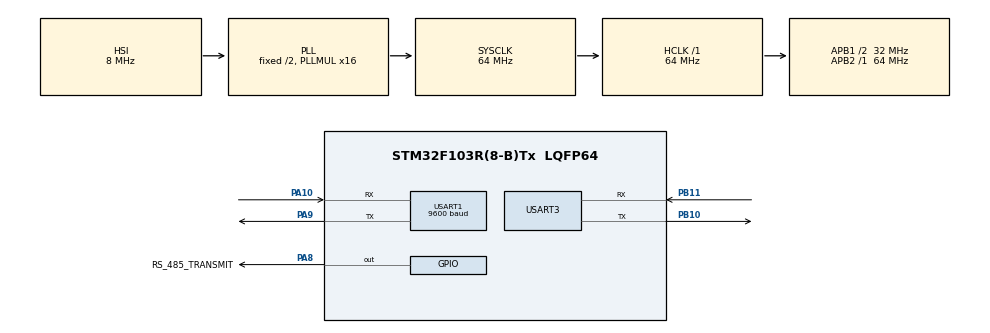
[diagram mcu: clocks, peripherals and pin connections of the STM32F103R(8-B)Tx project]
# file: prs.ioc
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Mcu.Family=STM32F1
Mcu.Name=STM32F103R(8-B)Tx
Mcu.Package=LQFP64
NVIC.PriorityGroup=NVIC_PRIORITYGROUP_4
NVIC.TIM1_UP_IRQn=true\:0\:0\:false\:false\:true\:true
NVIC.USART1_IRQn=true\:0\:0\:false\:false\:true\:true
NVIC.USART3_IRQn=true\:0\:0\:false\:false\:true\:true
PA10.Mode=Asynchronous
PA10.Signal=USART1_RX
PA13.Mode=Serial_Wire
PA13.Signal=SYS_JTMS-SWDIO
PA14.Mode=Serial_Wire
PA14.Signal=SYS_JTCK-SWCLK
PA8.GPIO_Label=RS_485_TRANSMIT
PA8.Signal=GPIO_Output
PA9.Mode=Asynchronous
PA9.Signal=USART1_TX
PB10.Mode=Asynchronous
PB10.Signal=USART3_TX
PB11.Mode=Asynchronous
PB11.Signal=USART3_RX
PC14-OSC32_IN.Mode=LSE-External-Oscillator
PC14-OSC32_IN.Signal=RCC_OSC32_IN
PC15-OSC32_OUT.Mode=LSE-External-Oscillator
PC15-OSC32_OUT.Signal=RCC_OSC32_OUT
PD0-OSC_IN.Mode=HSE-External-Oscillator
PD0-OSC_IN.Signal=RCC_OSC_IN
PD1-OSC_OUT.Mode=HSE-External-Oscillator
PD1-OSC_OUT.Signal=RCC_OSC_OUT
ProjectManager.HeapSize=0x200
ProjectManager.StackSize=0x400
ProjectManager.TargetToolchain=MDK-ARM V5
RCC.AHBFreq_Value=64000000
RCC.APB1CLKDivider=RCC_HCLK_DIV2
RCC.APB1Freq_Value=32000000
RCC.APB1TimFreq_Value=64000000
RCC.APB2Freq_Value=64000000
RCC.APB2TimFreq_Value=64000000
RCC.HCLKFreq_Value=64000000
RCC.PLLMUL=RCC_PLL_MUL16
RCC.SYSCLKFreq_VALUE=64000000
RCC.SYSCLKSource=RCC_SYSCLKSOURCE_PLLCLK
RCC.USBFreq_Value=64000000
TIM1.Period=10000
TIM1.Prescaler=7200
TIM1.TIM_MasterOutputTrigger=TIM_TRGO_UPDATE
USART1.BaudRate=9600
USART1.StopBits=STOPBITS_2
USART1.VirtualMode=VM_ASYNC
USART3.VirtualMode=VM_ASYNC
VP_TIM1_VS_ClockSourceINT.Mode=Internal
board=custom

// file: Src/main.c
/**
  ******************************************************************************
  * @file           : main.c
  * @brief          : Main program body
  ******************************************************************************
  ** This notice applies to any and all portions of this file
  * that are not between comment pairs USER CODE BEGIN and
  * USER CODE END. Other portions of this file, whether
  * inserted by the user or by software development tools
  * are owned by their respective copyright owners.
  *
  * COPYRIGHT(c) 2018 STMicroelectronics
  *
  * Redistribution and use in source and binary forms, with or without modification,
  * are permitted provided that the following conditions are met:
  *   1. Redistributions of source code must retain the above copyright notice,
  *      this list of conditions and the following disclaimer.
  *   2. Redistributions in binary form must reproduce the above copyright notice,
  *      this list of conditions and the following disclaimer in the documentation
  *      and/or other materials provided with the distribution.
  *   3. Neither the name of STMicroelectronics nor the names of its contributors
  *      may be used to endorse or promote products derived from this software
  *      without specific prior written permission.
  *
  * THIS SOFTWARE IS PROVIDED BY THE COPYRIGHT HOLDERS AND CONTRIBUTORS "AS IS"
  * AND ANY EXPRESS OR IMPLIED WARRANTIES, INCLUDING, BUT NOT LIMITED TO, THE
  * IMPLIED WARRANTIES OF MERCHANTABILITY AND FITNESS FOR A PARTICULAR PURPOSE ARE
  * DISCLAIMED. IN NO EVENT SHALL THE COPYRIGHT HOLDER OR CONTRIBUTORS BE LIABLE
  * FOR ANY DIRECT, INDIRECT, INCIDENTAL, SPECIAL, EXEMPLARY, OR CONSEQUENTIAL
  * DAMAGES (INCLUDING, BUT NOT LIMITED TO, PROCUREMENT OF SUBSTITUTE GOODS OR
  * SERVICES; LOSS OF USE, DATA, OR PROFITS; OR BUSINESS INTERRUPTION) HOWEVER
  * CAUSED AND ON ANY THEORY OF LIABILITY, WHETHER IN CONTRACT, STRICT LIABILITY,
  * OR TORT (INCLUDING NEGLIGENCE OR OTHERWISE) ARISING IN ANY WAY OUT OF THE USE
  * OF THIS SOFTWARE, EVEN IF ADVISED OF THE POSSIBILITY OF SUCH DAMAGE.
  *
  ******************************************************************************
  */
#include "main.h"
#include "stm32f1xx_hal.h"

/* USER CODE BEGIN Includes */
#include <string.h>

#include "sensors.h"

/* USER CODE END Includes */

TIM_HandleTypeDef htim1;

UART_HandleTypeDef huart1;
UART_HandleTypeDef huart3;

/* USER CODE BEGIN PV */
/* Private variables ---------------------------------------------------------*/
double temperature1, temperature2, presuare1, presuare2;
uint32_t UpPres1, UpPres2;
char message_to_esp[100];
uint8_t Klapan[2];
uint32_t press_limit;
uint8_t stage_of_process;
uint8_t step_of_blow;
static const MODBUS_Std_command getTempPrsCommandensor1 =
{
	.address = 0xF0,
	.func_code = 0x04,
	.start_index = 0x0000,
	.length = 0x0200,
	.CRC_low = 0x64,
	.CRC_high = 0xEA,
};

static const MODBUS_Std_command getTempPrsCommandSensor2 =
{
	.address = 0xDE,
	.func_code = 0x04,
	.start_index = 0x0000,
	.length = 0x0200,
	.CRC_low = 0x62,
	.CRC_high = 0xA4,
};

sensorData firstSensorTempPrs;
sensorData secondSensorTempPrs;
command_message command_from_host, command_from_host_now;
uint8_t state;
uint32_t Time_pump, Time_speak;
#ifdef _1_SLAVE_PRESENT
static const uint8_t MODBUS_slaveAddrChange[11] =
{
	0xF0, 0x10, 0x00, 0x14,
	0x00, 0x01, 0x02, 0x00,
	0xDE, 0x2C, 0x88
};
#endif

/* USER CODE END PV */

void SystemClock_Config(void);
static void MX_GPIO_Init(void);
static void MX_USART1_UART_Init(void);
static void MX_TIM1_Init(void);
static void MX_USART3_UART_Init(void);

/* USER CODE BEGIN PFP */
/* Private function prototypes -----------------------------------------------*/
void err_handler(void);
void zero_params(sensorData Params)
	{
	Params.address=0;
	Params.func_code=0;
	Params.byte_count=0;
	Params.raw_pressure_high=0;
	Params.raw_pressure_low=0;
	Params.raw_temperature_high=0;
	Params.raw_temperature_low=0;
	Params.CRC_low=0;
	Params.CRC_high=0;
	}
void Init_klapans(void)
{
	GPIO_InitTypeDef GPIO_InitStruct;
  /*Configure GPIO pin Output Level */
  HAL_GPIO_WritePin(GPIOA, 	ALL_A_Klapans,GPIO_PIN_RESET);
	GPIO_InitStruct.Pin = ALL_A_Klapans;
  GPIO_InitStruct.Mode = GPIO_MODE_OUTPUT_PP;
  GPIO_InitStruct.Speed = GPIO_SPEED_FREQ_LOW;
  HAL_GPIO_Init(GPIOA, &GPIO_InitStruct);

	HAL_GPIO_WritePin(GPIOB, 	ALL_B_Klapans,GPIO_PIN_RESET);
	GPIO_InitStruct.Pin = ALL_B_Klapans;
  GPIO_InitStruct.Mode = GPIO_MODE_OUTPUT_PP;
  GPIO_InitStruct.Speed = GPIO_SPEED_FREQ_LOW;
  HAL_GPIO_Init(GPIOB, &GPIO_InitStruct);

	HAL_GPIO_WritePin(GPIOC, 	ALL_C_Klapans,GPIO_PIN_RESET);
	GPIO_InitStruct.Pin = ALL_C_Klapans;
  GPIO_InitStruct.Mode = GPIO_MODE_OUTPUT_PP;
  GPIO_InitStruct.Speed = GPIO_SPEED_FREQ_LOW;
  HAL_GPIO_Init(GPIOC, &GPIO_InitStruct);

	HAL_GPIO_WritePin(GPIOD, 	ALL_D_Klapans,GPIO_PIN_RESET);
	GPIO_InitStruct.Pin = ALL_D_Klapans;
  GPIO_InitStruct.Mode = GPIO_MODE_OUTPUT_PP;
  GPIO_InitStruct.Speed = GPIO_SPEED_FREQ_LOW;
  HAL_GPIO_Init(GPIOD, &GPIO_InitStruct);

}

void test_pins(void)
{
	HAL_GPIO_WritePin(GPIOA, 	ALL_A_Klapans,GPIO_PIN_SET);
	HAL_GPIO_WritePin(GPIOB, 	ALL_B_Klapans,GPIO_PIN_SET);
	HAL_GPIO_WritePin(GPIOC, 	ALL_C_Klapans,GPIO_PIN_SET);
	HAL_GPIO_WritePin(GPIOD, 	ALL_D_Klapans,GPIO_PIN_SET);
	//HAL_GPIO_WritePin(GPIOB, 	dev_13,GPIO_PIN_SET);

}
/* USER CODE END PFP */

/* USER CODE BEGIN 0 */
uint16_t temp2, temp1;
uint16_t pres1, pres2;
uint8_t ch;
/* USER CODE END 0 */

int main(void)
{
//  /* USER CODE BEGIN 1 */

//  /* USER CODE END 1 */

//  /* MCU Configuration----------------------------------------------------------*/

//  /* Reset of all peripherals, Initializes the Flash interface and the Systick. */
  HAL_Init();

//  /* USER CODE BEGIN Init */

//  /* USER CODE END Init */

//  /* Configure the system clock */
  SystemClock_Config();
//  /* USER CODE BEGIN SysInit */
//
//  /* USER CODE END SysInit */

//  /* Initialize all configured peripherals */
  MX_GPIO_Init();
  MX_USART1_UART_Init();
  MX_TIM1_Init();
  MX_USART3_UART_Init();
//  /* USER CODE BEGIN 2 */
	Init_klapans();
	zero_down_system();
	HAL_TIM_Base_Start_IT(&htim1);

#ifdef _1_SLAVE_PRESENT

	HAL_GPIO_WritePin(RS_485_TRANSMIT_GPIO_Port, RS_485_TRANSMIT_Pin, GPIO_PIN_SET);
	if(HAL_UART_Transmit(&huart1, (uint8_t*)(&MODBUS_slaveAddrChange), sizeof(MODBUS_slaveAddrChange), 30) != HAL_OK) err_handler();
	HAL_GPIO_WritePin(RS_485_TRANSMIT_GPIO_Port, RS_485_TRANSMIT_Pin, GPIO_PIN_RESET);
	HAL_Delay(500);

#endif
HAL_UART_Receive_IT(&huart3, (uint8_t*)(&ch), 1);
//HAL_UART_Transmit(&huart3,"HELLO", 5,1);
  /* USER CODE END 2 */

  /* Infinite loop */
  /* USER CODE BEGIN WHILE */
	/*HAL_GPIO_WritePin(RS_485_TRANSMIT_GPIO_Port, RS_485_TRANSMIT_Pin, GPIO_PIN_SET);
	HAL_UART_Transmit(&huart1, (uint8_t*)&ch_addr, sizeof(ch_addr), 100);
	HAL_GPIO_WritePin(RS_485_TRANSMIT_GPIO_Port, RS_485_TRANSMIT_Pin, GPIO_PIN_RESET);
	HAL_Delay(100);*/
  while (1)
  {

		/* CRC check porc here! */

  /* USER CODE END WHILE */
	Timing_main();

  }

}

void SystemClock_Config(void)
{

  RCC_OscInitTypeDef RCC_OscInitStruct;
  RCC_ClkInitTypeDef RCC_ClkInitStruct;

    /**Initializes the CPU, AHB and APB busses clocks
    */
  RCC_OscInitStruct.OscillatorType = RCC_OSCILLATORTYPE_HSI;
  RCC_OscInitStruct.HSIState = RCC_HSI_ON;
  RCC_OscInitStruct.HSICalibrationValue = 16;
  RCC_OscInitStruct.PLL.PLLState = RCC_PLL_ON;
  RCC_OscInitStruct.PLL.PLLSource = RCC_PLLSOURCE_HSI_DIV2;
  RCC_OscInitStruct.PLL.PLLMUL = RCC_PLL_MUL16;
  if (HAL_RCC_OscConfig(&RCC_OscInitStruct) != HAL_OK)
  {
    _Error_Handler(__FILE__, __LINE__);
  }

    /**Initializes the CPU, AHB and APB busses clocks
    */
  RCC_ClkInitStruct.ClockType = RCC_CLOCKTYPE_HCLK|RCC_CLOCKTYPE_SYSCLK
                              |RCC_CLOCKTYPE_PCLK1|RCC_CLOCKTYPE_PCLK2;
  RCC_ClkInitStruct.SYSCLKSource = RCC_SYSCLKSOURCE_PLLCLK;
  RCC_ClkInitStruct.AHBCLKDivider = RCC_SYSCLK_DIV1;
  RCC_ClkInitStruct.APB1CLKDivider = RCC_HCLK_DIV2;
  RCC_ClkInitStruct.APB2CLKDivider = RCC_HCLK_DIV1;

  if (HAL_RCC_ClockConfig(&RCC_ClkInitStruct, FLASH_LATENCY_2) != HAL_OK)
  {
    _Error_Handler(__FILE__, __LINE__);
  }

    /**Configure the Systick interrupt time
    */
  HAL_SYSTICK_Config(HAL_RCC_GetHCLKFreq()/1000);

    /**Configure the Systick
    */
  HAL_SYSTICK_CLKSourceConfig(SYSTICK_CLKSOURCE_HCLK);

  /* SysTick_IRQn interrupt configuration */
  HAL_NVIC_SetPriority(SysTick_IRQn, 0, 0);
}

/* TIM1 init function */
static void MX_TIM1_Init(void)
{

  TIM_ClockConfigTypeDef sClockSourceConfig;
  TIM_MasterConfigTypeDef sMasterConfig;

  htim1.Instance = TIM1;
  htim1.Init.Prescaler = 7200;
  htim1.Init.CounterMode = TIM_COUNTERMODE_UP;
  htim1.Init.Period = 10000;
  htim1.Init.ClockDivision = TIM_CLOCKDIVISION_DIV1;
  htim1.Init.RepetitionCounter = 0;
  htim1.Init.AutoReloadPreload = TIM_AUTORELOAD_PRELOAD_DISABLE;
  if (HAL_TIM_Base_Init(&htim1) != HAL_OK)
  {
    _Error_Handler(__FILE__, __LINE__);
  }

  sClockSourceConfig.ClockSource = TIM_CLOCKSOURCE_INTERNAL;
  if (HAL_TIM_ConfigClockSource(&htim1, &sClockSourceConfig) != HAL_OK)
  {
    _Error_Handler(__FILE__, __LINE__);
  }

  sMasterConfig.MasterOutputTrigger = TIM_TRGO_UPDATE;
  sMasterConfig.MasterSlaveMode = TIM_MASTERSLAVEMODE_DISABLE;
  if (HAL_TIMEx_MasterConfigSynchronization(&htim1, &sMasterConfig) != HAL_OK)
  {
    _Error_Handler(__FILE__, __LINE__);
  }

}

/* USART1 init function */
static void MX_USART1_UART_Init(void)
{

  huart1.Instance = USART1;
  huart1.Init.BaudRate = 9600;
  huart1.Init.WordLength = UART_WORDLENGTH_8B;
  huart1.Init.StopBits = UART_STOPBITS_2;
  huart1.Init.Parity = UART_PARITY_NONE;
  huart1.Init.Mode = UART_MODE_TX_RX;
  huart1.Init.HwFlowCtl = UART_HWCONTROL_NONE;
  huart1.Init.OverSampling = UART_OVERSAMPLING_16;
  if (HAL_UART_Init(&huart1) != HAL_OK)
  {
    _Error_Handler(__FILE__, __LINE__);
  }

}

/* USART3 init function */
static void MX_USART3_UART_Init(void)
{

  huart3.Instance = USART3;
  huart3.Init.BaudRate = 115200;
  huart3.Init.WordLength = UART_WORDLENGTH_8B;
  huart3.Init.StopBits = UART_STOPBITS_1;
  huart3.Init.Parity = UART_PARITY_NONE;
  huart3.Init.Mode = UART_MODE_TX_RX;
  huart3.Init.HwFlowCtl = UART_HWCONTROL_NONE;
  huart3.Init.OverSampling = UART_OVERSAMPLING_16;
  if (HAL_UART_Init(&huart3) != HAL_OK)
  {
    _Error_Handler(__FILE__, __LINE__);
  }

}

/** Configure pins as
        * Analog
        * Input
        * Output
        * EVENT_OUT
        * EXTI
*/
static void MX_GPIO_Init(void)
{

  GPIO_InitTypeDef GPIO_InitStruct;

  /* GPIO Ports Clock Enable */
  __HAL_RCC_GPIOC_CLK_ENABLE();
  __HAL_RCC_GPIOD_CLK_ENABLE();
  __HAL_RCC_GPIOB_CLK_ENABLE();
  __HAL_RCC_GPIOA_CLK_ENABLE();

  /*Configure GPIO pin Output Level */
  HAL_GPIO_WritePin(RS_485_TRANSMIT_GPIO_Port, RS_485_TRANSMIT_Pin, GPIO_PIN_RESET);

  /*Configure GPIO pin : RS_485_TRANSMIT_Pin */
  GPIO_InitStruct.Pin = RS_485_TRANSMIT_Pin;
  GPIO_InitStruct.Mode = GPIO_MODE_OUTPUT_PP;
  GPIO_InitStruct.Pull = GPIO_NOPULL;
  GPIO_InitStruct.Speed = GPIO_SPEED_FREQ_LOW;
  HAL_GPIO_Init(RS_485_TRANSMIT_GPIO_Port, &GPIO_InitStruct);

}

/* USER CODE BEGIN 4 */

void MATH_Go_to_ESP()
{
if(firstSensorTempPrs.address!=0)
		{

		}
if(secondSensorTempPrs.address!=0)
		{

		}
		temperature1 = (double)temp1*70/10000;
			UpPres1 =(uint32_t)pres1*2*10;
temperature2 = (double)temp2*70/10000;
			UpPres2 =(uint32_t)pres2*3*10;

presuare1 = (double)pres1*2/10000;
presuare2 = (double)pres2*3/10000;

//sprintf(pres_ch,"%i%c%c",pres1_4, 'P','a');
//snprintf(pres_ch,5,"%d",pres1);

		sprintf(message_to_esp, "$p1 = %d Pa, p2 = %d Pa, t = %f C*", UpPres1, UpPres2, temperature2);
    HAL_UART_Transmit(&huart3,(uint8_t*)(&message_to_esp),strlen(message_to_esp)+1,1000);

}

void err_handler()
{

}
uint8_t hui=0;
void take_klapan() //write klapans state by number
{

if(Klapan[0])
	{
//	HAL_UART_Transmit(&huart3, Klapan, 2,1);
switch(Klapan[0])
	{
	case 0x04:
		if(Klapan[1]==0x01)
		{

			HAL_GPIO_WritePin(dev_4_gp,dev_4,GPIO_PIN_SET);
			HAL_GPIO_WritePin(dev_4_1_gp,dev_4_1,GPIO_PIN_RESET);
		}
		if(Klapan[1]==0x00)
		{
			HAL_GPIO_WritePin(dev_4_gp,dev_4,GPIO_PIN_RESET);
			HAL_GPIO_WritePin(dev_4_1_gp,dev_4_1,GPIO_PIN_SET);
		}
		break;
	case 0x05:
		if(Klapan[1]==0x01)
		{
			HAL_GPIO_WritePin(dev_5_gp,dev_5,GPIO_PIN_SET);
			HAL_GPIO_WritePin(dev_5_1_gp,dev_5_1,GPIO_PIN_RESET);
		}
		if(Klapan[1]==0x00)
		{
			HAL_GPIO_WritePin(dev_5_gp,dev_5,GPIO_PIN_RESET);
			HAL_GPIO_WritePin(dev_5_1_gp,dev_5_1,GPIO_PIN_SET);
		}
		break;
	case 0x06:
		if(Klapan[1]==0x01)
		{
			HAL_GPIO_WritePin(dev_6_gp,dev_6,GPIO_PIN_SET);
			HAL_GPIO_WritePin(dev_6_1_gp,dev_6_1,GPIO_PIN_RESET);
		}
		if(Klapan[1]==0x00)
		{

			HAL_GPIO_WritePin(dev_6_gp,dev_6,GPIO_PIN_RESET);
			HAL_GPIO_WritePin(dev_6_1_gp,dev_6_1,GPIO_PIN_SET);
		}
		break;
	case 0x09:
		if(Klapan[1]==0x01)
		{
			HAL_GPIO_WritePin(dev_9_gp,dev_9,GPIO_PIN_SET);
		}
		if(Klapan[1]==0x00)
		{
			HAL_GPIO_WritePin(dev_9_gp,dev_9,GPIO_PIN_RESET);
		}
		break;
	case 0x01:
		if(Klapan[1]==0x01)
		{
			HAL_GPIO_WritePin(dev_10_gp,dev_10,GPIO_PIN_SET);
			HAL_GPIO_WritePin(dev_10_1_gp,dev_10_1,GPIO_PIN_RESET);
		}
		if(Klapan[1]==0x00)
		{

			HAL_GPIO_WritePin(dev_10_gp,dev_10,GPIO_PIN_RESET);
			HAL_GPIO_WritePin(dev_10_1_gp,dev_10_1,GPIO_PIN_SET);
		}
		break;
	case 0x02:
		if(Klapan[1]==0x01)
		{
			HAL_GPIO_WritePin(dev_11_gp,dev_11,GPIO_PIN_SET);
		}
		if(Klapan[1]==0x00)
		{
			HAL_GPIO_WritePin(dev_11_gp,dev_11,GPIO_PIN_RESET);
		}
		break;
	case 0x03:
		if(Klapan[1]==0x01)
		{
			HAL_GPIO_WritePin(dev_13_gp,dev_13,GPIO_PIN_SET);
		}
		if(Klapan[1]==0x00)
		{
			HAL_GPIO_WritePin(dev_13_gp,dev_13,GPIO_PIN_RESET);
		}
		break;

	}

	}
}
void zero_down_system() // go system to zerostate external
{
		HAL_GPIO_WritePin(dev_4_gp,dev_4,GPIO_PIN_SET); //open/close klapans on start
		HAL_GPIO_WritePin(dev_5_gp,dev_5,GPIO_PIN_SET);
		HAL_GPIO_WritePin(dev_6_gp,dev_6,GPIO_PIN_SET);
		HAL_GPIO_WritePin(dev_10_gp,dev_10,GPIO_PIN_RESET); // open 10,11,13 klapans

		HAL_GPIO_WritePin(dev_4_1_gp,dev_4_1,GPIO_PIN_RESET); //open/close klapans on start
		HAL_GPIO_WritePin(dev_5_1_gp,dev_5_1,GPIO_PIN_RESET);
		HAL_GPIO_WritePin(dev_6_1_gp,dev_6_1,GPIO_PIN_RESET);
		HAL_GPIO_WritePin(dev_10_1_gp,dev_10_1,GPIO_PIN_SET); // open 10,11,13 klapans

		HAL_GPIO_WritePin(dev_11_gp,dev_11,GPIO_PIN_RESET);
		HAL_GPIO_WritePin(dev_13_gp,dev_13,GPIO_PIN_RESET);
		HAL_GPIO_WritePin(dev_9_gp,dev_9,GPIO_PIN_RESET);
		HAL_UART_Transmit(&huart3,"SYSTEM STOP",11,1);
		step_of_blow=0;
		stage_of_process=0;
		//zero_params(firstSensorTempPrs);
		//zero_params(secondSensorTempPrs);
}

void zeroing() //zerostate when all done good
{
				HAL_GPIO_WritePin(dev_4_gp,dev_4,GPIO_PIN_SET); //open/close klapans on start
				HAL_GPIO_WritePin(dev_5_gp,dev_5,GPIO_PIN_SET);
				HAL_GPIO_WritePin(dev_6_gp,dev_6,GPIO_PIN_SET);
				HAL_GPIO_WritePin(dev_10_gp,dev_10,GPIO_PIN_SET); // open 10,11,13 klapans

				HAL_GPIO_WritePin(dev_4_1_gp,dev_4_1,GPIO_PIN_RESET); //open/close klapans on start
				HAL_GPIO_WritePin(dev_5_1_gp,dev_5_1,GPIO_PIN_RESET);
				HAL_GPIO_WritePin(dev_6_1_gp,dev_6_1,GPIO_PIN_RESET);
				HAL_GPIO_WritePin(dev_10_1_gp,dev_10_1,GPIO_PIN_RESET);

				HAL_GPIO_WritePin(dev_11_gp,dev_11,GPIO_PIN_SET);
				HAL_GPIO_WritePin(dev_13_gp,dev_13,GPIO_PIN_SET);
				HAL_GPIO_WritePin(dev_9_gp,dev_9,GPIO_PIN_RESET);

				step_of_blow=0;
				stage_of_process=0;
			//	zero_params(firstSensorTempPrs);
			//	zero_params(secondSensorTempPrs);
}

void all_zeroes()
{
				HAL_GPIO_WritePin(dev_4_gp,dev_4,GPIO_PIN_RESET); //open/close klapans on start
				HAL_GPIO_WritePin(dev_5_gp,dev_5,GPIO_PIN_RESET);
				HAL_GPIO_WritePin(dev_6_gp,dev_6,GPIO_PIN_RESET);
				HAL_GPIO_WritePin(dev_10_gp,dev_10,GPIO_PIN_RESET); // open 10,11,13 klapans

				HAL_GPIO_WritePin(dev_4_1_gp,dev_4_1,GPIO_PIN_SET); //open/close klapans on start
				HAL_GPIO_WritePin(dev_5_1_gp,dev_5_1,GPIO_PIN_SET);
				HAL_GPIO_WritePin(dev_6_1_gp,dev_6_1,GPIO_PIN_SET);
				HAL_GPIO_WritePin(dev_10_1_gp,dev_10_1,GPIO_PIN_SET);

				HAL_GPIO_WritePin(dev_11_gp,dev_11,GPIO_PIN_RESET);
				HAL_GPIO_WritePin(dev_13_gp,dev_13,GPIO_PIN_RESET);
				HAL_GPIO_WritePin(dev_9_gp,dev_9,GPIO_PIN_RESET);

				step_of_blow=0;
				stage_of_process=0;
				zero_params(firstSensorTempPrs);
				zero_params(secondSensorTempPrs);

}

void Parser() // this is command parser
{
	uint8_t start;

			if(command_from_host_now.start==':')
			{
				if((command_from_host_now.powering==0x01)&&(stage_of_process==0)) // if process didn't start when we can write command to system
				{
					stage_of_process = 1;
					command_from_host=command_from_host_now;
					press_limit= command_from_host.pressure_4<<24|command_from_host.pressure_3<<16|command_from_host.pressure_2<<8|command_from_host.pressure_1;
				}
				if(command_from_host_now.powering==0x00) // if need to turn down
					{
					zero_down_system();
					stage_of_process=0;
					}
				if(command_from_host_now.powering==0x02)  // if process didn't start when we can write command to system
					{
						HAL_UART_Transmit(&huart3, (uint8_t*)(&stage_of_process),1,1);
						stage_of_process++;
					}
					if(command_from_host_now.powering==0x03) //turn off all
					{
					all_zeroes();
					}
			}
			else
			{
				Klapan[0]=command_from_host_now.start;
				Klapan[1]=command_from_host_now.klapan_start;
				take_klapan();

			}
			//HAL_UART_Transmit(&huart3, (uint8_t*)(&command_from_host_now),sizeof(command_from_host_now),1);
		}

void extrme_stop()
{
	if(UpPres2>(three_atm-200))
		{
			zero_down_system();
			HAL_UART_Transmit(&huart3,"EXTREME STOP, System Delay 2 min",24,1);
			HAL_Delay(2000);

		}

}

void blowing()
{
		if(((UpPres1<(two_atm+200))&&(UpPres1>(two_atm-200)))&&((UpPres2<(two_atm+200))&&(UpPres2>(two_atm-200))))
		{
		HAL_GPIO_WritePin(dev_10_gp,dev_10,GPIO_PIN_RESET); // open 10,11,13 klapans
		HAL_GPIO_WritePin(dev_10_1_gp,dev_10_1,GPIO_PIN_SET); // open 10,11,13 klapans
		HAL_GPIO_WritePin(dev_11_gp,dev_11,GPIO_PIN_RESET);
		HAL_GPIO_WritePin(dev_13_gp,dev_13,GPIO_PIN_RESET);
		HAL_GPIO_WritePin(dev_9_gp,dev_9,GPIO_PIN_SET);
		step_of_blow++;
		if(step_of_blow==5)
			{
				HAL_GPIO_WritePin(GPIOB,dev_13,GPIO_PIN_RESET);
				stage_of_process++;
			}
		}
		if((UpPres1<(one_atm+200))&&(UpPres2<(one_atm+200))) //go one_atm
		{
		HAL_GPIO_WritePin(dev_10_gp,dev_10,GPIO_PIN_SET); // open 10,11,13 klapans
		HAL_GPIO_WritePin(dev_10_1_gp,dev_10_1,GPIO_PIN_RESET);
		HAL_GPIO_WritePin(dev_11_gp,dev_11,GPIO_PIN_SET);
		HAL_GPIO_WritePin(dev_13_gp,dev_13,GPIO_PIN_SET);
		HAL_GPIO_WritePin(dev_9_gp,dev_9,GPIO_PIN_RESET);
		}

}
void process_pump()
{
	extrme_stop();
	if(stage_of_process==1) //stage of  blowing
	{
		switch(command_from_host.klapan_start)
		{
			case 0x01:
				HAL_GPIO_WritePin(dev_4_gp,dev_4,GPIO_PIN_RESET); //open/close klapans on start
				HAL_GPIO_WritePin(dev_5_gp,dev_5,GPIO_PIN_SET);
				HAL_GPIO_WritePin(dev_6_gp,dev_6,GPIO_PIN_SET);

				HAL_GPIO_WritePin(dev_4_1_gp,dev_4_1,GPIO_PIN_SET); //open/close klapans on start
				HAL_GPIO_WritePin(dev_5_1_gp,dev_5_1,GPIO_PIN_RESET);
				HAL_GPIO_WritePin(dev_6_1_gp,dev_6_1,GPIO_PIN_RESET);

			case 0x02:
				HAL_GPIO_WritePin(dev_4_gp,dev_4,GPIO_PIN_SET); //open/close klapans on start
				HAL_GPIO_WritePin(dev_5_gp,dev_5,GPIO_PIN_RESET);
				HAL_GPIO_WritePin(dev_6_gp,dev_6,GPIO_PIN_SET);

				HAL_GPIO_WritePin(dev_4_1_gp,dev_4_1,GPIO_PIN_RESET); //open/close klapans on start
				HAL_GPIO_WritePin(dev_5_1_gp,dev_5_1,GPIO_PIN_SET);
				HAL_GPIO_WritePin(dev_6_1_gp,dev_6_1,GPIO_PIN_RESET);

			case 0x03:
				HAL_GPIO_WritePin(dev_4_gp,dev_4,GPIO_PIN_SET); //open/close klapans on start
				HAL_GPIO_WritePin(dev_5_gp,dev_5,GPIO_PIN_SET);
				HAL_GPIO_WritePin(dev_6_gp,dev_6,GPIO_PIN_RESET);

				HAL_GPIO_WritePin(dev_4_1_gp,dev_4_1,GPIO_PIN_RESET); //open/close klapans on start
				HAL_GPIO_WritePin(dev_5_1_gp,dev_5_1,GPIO_PIN_RESET);
				HAL_GPIO_WritePin(dev_6_1_gp,dev_6_1,GPIO_PIN_SET);
			default:
				HAL_GPIO_WritePin(dev_4_gp,dev_4,GPIO_PIN_SET); //open/close klapans on start
				HAL_GPIO_WritePin(dev_5_gp,dev_5,GPIO_PIN_SET);
				HAL_GPIO_WritePin(dev_6_gp,dev_6,GPIO_PIN_SET);

				HAL_GPIO_WritePin(dev_4_1_gp,dev_4_1,GPIO_PIN_RESET); //open/close klapans on start
				HAL_GPIO_WritePin(dev_5_1_gp,dev_5_1,GPIO_PIN_RESET);
				HAL_GPIO_WritePin(dev_6_1_gp,dev_6_1,GPIO_PIN_RESET);
		}
	blowing();

	}
	if(stage_of_process==2) // go to 0.1 atm
	{
		if(((UpPres1<10333)&&(UpPres1>9933))&&((UpPres2<10433)&&(UpPres2>9833))) //down pressure to 0,1 atm 200pa
			{
				HAL_GPIO_WritePin(dev_9_gp,dev_9,GPIO_PIN_RESET);
				HAL_GPIO_WritePin(dev_10_gp,dev_10,GPIO_PIN_SET);
				HAL_GPIO_WritePin(dev_10_1_gp,dev_10_1,GPIO_PIN_RESET);
				switch(command_from_host.klapan_start)
					{
					case 0x01:
						HAL_GPIO_WritePin(dev_4_gp,dev_4,GPIO_PIN_RESET); //open/close klapans on start
						HAL_GPIO_WritePin(dev_5_gp,dev_5,GPIO_PIN_SET);
						HAL_GPIO_WritePin(dev_6_gp,dev_6,GPIO_PIN_SET);

						HAL_GPIO_WritePin(dev_4_1_gp,dev_4_1,GPIO_PIN_SET); //open/close klapans on start
						HAL_GPIO_WritePin(dev_5_1_gp,dev_5_1,GPIO_PIN_RESET);
						HAL_GPIO_WritePin(dev_6_1_gp,dev_6_1,GPIO_PIN_RESET);
					case 0x02:
						HAL_GPIO_WritePin(dev_4_gp,dev_4,GPIO_PIN_SET); //open/close klapans on start
						HAL_GPIO_WritePin(dev_5_gp,dev_5,GPIO_PIN_RESET);
						HAL_GPIO_WritePin(dev_6_gp,dev_6,GPIO_PIN_SET);

						HAL_GPIO_WritePin(dev_4_1_gp,dev_4_1,GPIO_PIN_RESET); //open/close klapans on start
						HAL_GPIO_WritePin(dev_5_1_gp,dev_5_1,GPIO_PIN_SET);
						HAL_GPIO_WritePin(dev_6_1_gp,dev_6_1,GPIO_PIN_RESET);
					case 0x03:
						HAL_GPIO_WritePin(dev_4_gp,dev_4,GPIO_PIN_SET); //open/close klapans on start
						HAL_GPIO_WritePin(dev_5_gp,dev_5,GPIO_PIN_SET);
						HAL_GPIO_WritePin(dev_6_gp,dev_6,GPIO_PIN_RESET);

						HAL_GPIO_WritePin(dev_4_1_gp,dev_4_1,GPIO_PIN_RESET); //open/close klapans on start
						HAL_GPIO_WritePin(dev_5_1_gp,dev_5_1,GPIO_PIN_RESET);
						HAL_GPIO_WritePin(dev_6_1_gp,dev_6_1,GPIO_PIN_SET);
					}
				stage_of_process++; //go next_stage
			}
		else
		{
				HAL_GPIO_WritePin(dev_9_gp,dev_9,GPIO_PIN_SET);//working pump
				HAL_GPIO_WritePin(dev_10_gp,dev_10,GPIO_PIN_RESET);
				HAL_GPIO_WritePin(dev_10_1_gp,dev_10_1,GPIO_PIN_SET);
		}
	}
	if(stage_of_process==3)	// waiting pressure
	{
		if(((UpPres1-press_limit<200)||(press_limit-UpPres1>200))&&((UpPres2-press_limit<200)||(UpPres2-press_limit>200))) // waiting pressure near press_limit 200Pa
		{
		HAL_GPIO_WritePin(dev_13_gp,dev_13,GPIO_PIN_SET);
		HAL_GPIO_WritePin(dev_11_gp,dev_11,GPIO_PIN_SET); // if all done, close 11 klapan
		stage_of_process++; // go next_stage
		}
		else
		{
		HAL_GPIO_WritePin(dev_11_gp,dev_11,GPIO_PIN_RESET);//if pressure is not under limit than open 11 klapan
		HAL_GPIO_WritePin(dev_13_gp,dev_13,GPIO_PIN_RESET);
		}
	}
	if(stage_of_process==4) // go gas to camera
	{
		if(((UpPres1<101525)&&(UpPres1>101125))&&((UpPres2<101525)&&(UpPres2>101125)))
			{
				zeroing();
				HAL_UART_Transmit(&huart3,"Process end",11,1);
			}

	}

}

int h;
void Transmitting(uint8_t k)
{
		if(k==1){k++;}
		HAL_GPIO_WritePin(RS_485_TRANSMIT_GPIO_Port, RS_485_TRANSMIT_Pin, GPIO_PIN_SET);
		if (HAL_UART_Transmit(&huart1, (uint8_t*)(&getTempPrsCommandensor1), sizeof(getTempPrsCommandensor1), 30) != HAL_OK) err_handler();
		HAL_GPIO_WritePin(RS_485_TRANSMIT_GPIO_Port, RS_485_TRANSMIT_Pin, GPIO_PIN_RESET);
		if (HAL_UART_Receive(&huart1, (uint8_t*)(&firstSensorTempPrs), sizeof(firstSensorTempPrs), 100) != HAL_OK) err_handler();

		temp1 =SENSOR_1_TEMPERATURE_PTS ;
		pres1=SENSOR_1_PRESSURE_PTS;
	if(k==2)
		{k=1;}
		HAL_Delay(20);
		HAL_GPIO_WritePin(RS_485_TRANSMIT_GPIO_Port, RS_485_TRANSMIT_Pin, GPIO_PIN_SET);
		if (HAL_UART_Transmit(&huart1, (uint8_t*)(&getTempPrsCommandSensor2), sizeof(getTempPrsCommandSensor2), 30) != HAL_OK) err_handler();
		HAL_GPIO_WritePin(RS_485_TRANSMIT_GPIO_Port, RS_485_TRANSMIT_Pin, GPIO_PIN_RESET);
		if (HAL_UART_Receive(&huart1, (uint8_t*)(&secondSensorTempPrs), sizeof(secondSensorTempPrs), 100) != HAL_OK) err_handler();

		temp2 =SENSOR_2_TEMPERATURE_PTS  ;
		pres2=SENSOR_2_PRESSURE_PTS;
		HAL_Delay(20);
		MATH_Go_to_ESP();
		Time_speak = HAL_GetTick();

}

void pumps(uint32_t Time)
{
	if(state==0&&(Time_pump==0)||(state==0 &&(Time-Time_pump>6000))) //if time_pump 0 or last6 seconds
		{
		HAL_GPIO_WritePin(GPIOC,Klapan_2 ,GPIO_PIN_SET);
		HAL_GPIO_WritePin(GPIOC,Klapan_3 ,GPIO_PIN_RESET);
		Time_pump = HAL_GetTick();
		state++;
		}
	if((state==1)&&((Time-Time_pump)>3000))
		{
		HAL_GPIO_WritePin(GPIOC,Klapan_2 ,GPIO_PIN_RESET);
		HAL_GPIO_WritePin(GPIOC,Klapan_3 ,GPIO_PIN_RESET);
		Time_pump = HAL_GetTick();
		state++;
		}
	if(state==2&&(Time-Time_pump)>1000)
		{
		HAL_GPIO_WritePin(GPIOC,Klapan_2 ,GPIO_PIN_RESET);
		HAL_GPIO_WritePin(GPIOC,Klapan_3 ,GPIO_PIN_SET);
		Time_pump = HAL_GetTick();
		state++;
		}
	if(state==3&&(Time-Time_pump)>3000)
		{
		HAL_GPIO_WritePin(GPIOC,Klapan_2 ,GPIO_PIN_RESET);
		HAL_GPIO_WritePin(GPIOC,Klapan_3 ,GPIO_PIN_RESET);
		Time_pump = HAL_GetTick();
		state=0;
		}

}
uint8_t chet=1;
void Timing_main()
{
uint32_t Time_now = HAL_GetTick();

  if((Time_now - Time_speak)>3) // if now time is longer than 400 ms than last speaking - ask with sensor
			{
	Transmitting(chet);
			}
	Parser();
  process_pump();

}

/* USER CODE END 4 */

void _Error_Handler(char *file, int line)
{
  while(1)
  {
  }
}

/************************ (C) COPYRIGHT STMicroelectronics *****END OF FILE****/
